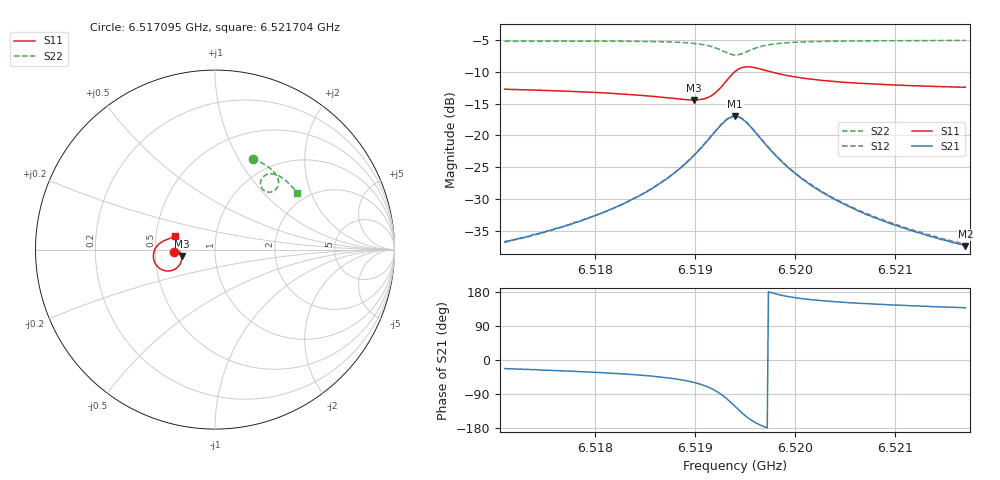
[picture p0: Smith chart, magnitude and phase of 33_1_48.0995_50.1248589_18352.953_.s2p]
#  HZ  S  RI  R  50.00
! Rohde & Schwarz Vector Network Analyzer
! Rohde-Schwarz,ZNB20-2Port,1311601062101988,3.16
! Created: UTC 12/23/2023, 3:37:51 AM
! freq[Hz]  re:S11  im:S11  re:S21  im:S21  re:S12  im:S12  re:S22  im:S22
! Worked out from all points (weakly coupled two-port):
!   401 points, 6.517095 GHz to 6.521704 GHz, reference 50 ohm
!   highest |S21| = -17.01 dB at 6.519399 GHz (marker M1); lowest = -37.4 dB at 6.521704 GHz (marker M2)
!   lowest |S11| = -14.4 dB at 6.518985 GHz (marker M3), VSWR 1.47, Z = 34.2 - j2.49 ohm
!   |S11| at or under -10 dB: start of sweep to 6.519398 GHz; 6.519753 GHz to end of sweep
!   |S22| runs from -7.4 to -5.1 dB; largest |S21 - S12| = 0.0042
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6.5170949e9  -0.23 -0.0153  0.0135 -0.00565  0.0136 -0.00516  0.2106 0.5066
6.5174521e9  -0.2259 -0.0101  0.0155 -0.00767  0.0157 -0.007  0.2371 0.4951
6.5178669e9  -0.2199 -0.00548  0.0185 -0.0111  0.0188 -0.0104  0.2677 0.4793
6.5182817e9  -0.2112 -0.00391  0.0233 -0.0173  0.0239 -0.0167  0.2989 0.4592
6.5186389e9  -0.2001 -0.00917  0.0296 -0.0292  0.0307 -0.0282  0.3268 0.435
6.5188232e9  -0.1928 -0.0182  0.0337 -0.041  0.0351 -0.0401  0.341 0.4168
6.5189845e9  -0.1866 -0.0351  0.0357 -0.0592  0.0377 -0.0584  0.3515 0.3938
6.5190882e9  -0.1859 -0.0541  0.0328 -0.0777  0.0355 -0.0774  0.3541 0.373
6.5191804e9  -0.1938 -0.0791  0.0221 -0.1002  0.0251 -0.1005  0.3485 0.3495
6.5193071e9  -0.238 -0.1157  -0.023 -0.1291  -0.0194 -0.1308  0.314 0.3211
6.5193532e9  -0.2665 -0.1193  -0.0492 -0.1293  -0.0459 -0.1318  0.2933 0.3206
6.5193993e9  -0.2968 -0.1113  -0.0754 -0.1192  -0.0726 -0.1222  0.273 0.3294
6.5194569e9  -0.3271 -0.0861  -0.0997 -0.0937  -0.0978 -0.0973  0.2566 0.3509
6.5195145e9  -0.3416 -0.0537  -0.1089 -0.0638  -0.1081 -0.0675  0.2536 0.3758
6.5196067e9  -0.3389 -0.0089  -0.1017 -0.0259  -0.1017 -0.029  0.2679 0.4046
6.5196989e9  -0.324 0.0186  -0.0859 -0.00487  -0.0866 -0.0073  0.2885 0.4182
6.5199293e9  -0.2907 0.046  -0.0547 0.0121  -0.0557 0.0106  0.3303 0.4203
6.5201713e9  -0.27 0.0553  -0.0374 0.0144  -0.0383 0.0134  0.3591 0.4091
6.5204824e9  -0.2544 0.0614  -0.0257 0.0135  -0.0265 0.0131  0.3857 0.3916
6.5209433e9  -0.2403 0.0683  -0.0169 0.0116  -0.0175 0.0113  0.4162 0.3642
6.521312e9  -0.2323 0.0733  -0.013 0.0103  -0.0135 0.0101  0.4371 0.3419
6.5217037e9  -0.2255 0.0785  -0.01 0.00912  -0.0106 0.00908  0.4566 0.3176
